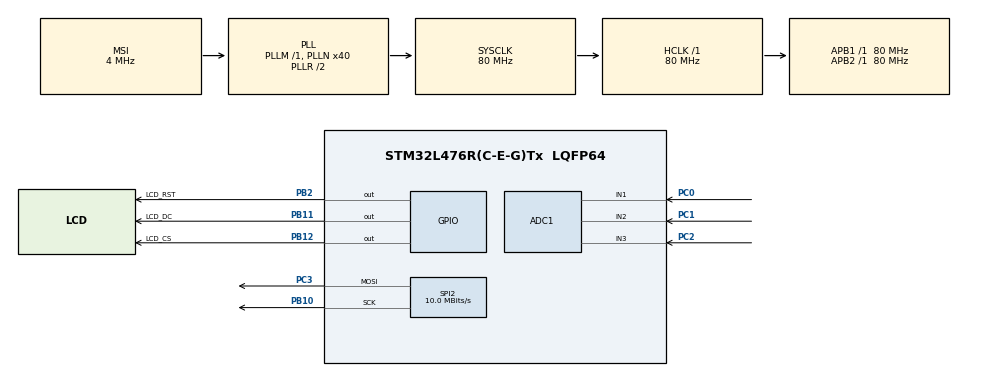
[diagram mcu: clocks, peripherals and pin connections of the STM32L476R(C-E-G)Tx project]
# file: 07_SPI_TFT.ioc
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ADC1.Channel-0\#ChannelRegularConversion=ADC_CHANNEL_1
ADC1.Channel-1\#ChannelRegularConversion=ADC_CHANNEL_1
ADC1.Channel-2\#ChannelRegularConversion=ADC_CHANNEL_1
ADC1.NbrOfConversion=3
ADC1.NbrOfConversionFlag=1
ADC1.OffsetNumber-0\#ChannelRegularConversion=ADC_OFFSET_NONE
ADC1.OffsetNumber-1\#ChannelRegularConversion=ADC_OFFSET_NONE
ADC1.OffsetNumber-2\#ChannelRegularConversion=ADC_OFFSET_NONE
ADC1.Rank-0\#ChannelRegularConversion=1
ADC1.Rank-1\#ChannelRegularConversion=2
ADC1.Rank-2\#ChannelRegularConversion=3
ADC1.SamplingTime-0\#ChannelRegularConversion=ADC_SAMPLETIME_640CYCLES_5
ADC1.SamplingTime-1\#ChannelRegularConversion=ADC_SAMPLETIME_640CYCLES_5
ADC1.SamplingTime-2\#ChannelRegularConversion=ADC_SAMPLETIME_640CYCLES_5
ADC1.master=1
Dma.Request0=SPI2_TX
Dma.SPI2_TX.0.Direction=DMA_MEMORY_TO_PERIPH
Dma.SPI2_TX.0.Instance=DMA1_Channel5
Dma.SPI2_TX.0.MemDataAlignment=DMA_MDATAALIGN_BYTE
Dma.SPI2_TX.0.MemInc=DMA_MINC_ENABLE
Dma.SPI2_TX.0.Mode=DMA_NORMAL
Dma.SPI2_TX.0.PeriphDataAlignment=DMA_PDATAALIGN_BYTE
Dma.SPI2_TX.0.PeriphInc=DMA_PINC_DISABLE
Dma.SPI2_TX.0.Priority=DMA_PRIORITY_LOW
Mcu.Family=STM32L4
Mcu.Name=STM32L476R(C-E-G)Tx
Mcu.Package=LQFP64
NVIC.DMA1_Channel5_IRQn=true\:0\:0\:false\:false\:true\:false\:true\:true
NVIC.PriorityGroup=NVIC_PRIORITYGROUP_4
PA13\ (JTMS-SWDIO).Mode=Serial_Wire
PA13\ (JTMS-SWDIO).Signal=SYS_JTMS-SWDIO
PA14\ (JTCK-SWCLK).Mode=Serial_Wire
PA14\ (JTCK-SWCLK).Signal=SYS_JTCK-SWCLK
PB10.Mode=TX_Only_Simplex_Unidirect_Master
PB10.Signal=SPI2_SCK
PB11.GPIO_Label=LCD_DC
PB11.Signal=GPIO_Output
PB12.GPIO_Label=LCD_CS
PB12.PinState=GPIO_PIN_SET
PB12.Signal=GPIO_Output
PB2.GPIO_Label=LCD_RST
PB2.Signal=GPIO_Output
PC0.Signal=ADCx_IN1
PC1.Signal=ADCx_IN2
PC2.Signal=ADCx_IN3
PC3.Mode=TX_Only_Simplex_Unidirect_Master
PC3.Signal=SPI2_MOSI
ProjectManager.HeapSize=0x200
ProjectManager.StackSize=0x400
ProjectManager.TargetToolchain=STM32CubeIDE
RCC.ADCFreq_Value=32000000
RCC.AHBFreq_Value=80000000
RCC.APB1Freq_Value=80000000
RCC.APB1TimFreq_Value=80000000
RCC.APB2Freq_Value=80000000
RCC.APB2TimFreq_Value=80000000
RCC.CortexFreq_Value=80000000
RCC.HCLKFreq_Value=80000000
RCC.HSE_VALUE=8000000
RCC.HSI_VALUE=16000000
RCC.LSE_VALUE=32768
RCC.MSI_VALUE=4000000
RCC.PLLN=40
RCC.PLLSAI1N=16
RCC.SYSCLKFreq_VALUE=80000000
RCC.SYSCLKSource=RCC_SYSCLKSOURCE_PLLCLK
RCC.USBFreq_Value=32000000
RCC.VCOOutputFreq_Value=160000000
SH.ADCx_IN1.0=ADC1_IN1,IN1-Single-Ended
SH.ADCx_IN2.0=ADC1_IN2,IN2-Single-Ended
SH.ADCx_IN3.0=ADC1_IN3,IN3-Single-Ended
SPI2.BaudRatePrescaler=SPI_BAUDRATEPRESCALER_8
SPI2.CalculateBaudRate=10.0 MBits/s
SPI2.DataSize=SPI_DATASIZE_8BIT
SPI2.Direction=SPI_DIRECTION_2LINES
SPI2.Mode=SPI_MODE_MASTER
SPI2.NSSPMode=SPI_NSS_PULSE_DISABLE
SPI2.VirtualType=VM_MASTER
board=custom

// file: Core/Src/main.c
/* USER CODE BEGIN Header */
/**
  ******************************************************************************
  * @file           : main.c
  * @brief          : Main program body
  ******************************************************************************
  * @attention
  *
  * Copyright (c) 2026 STMicroelectronics.
  * All rights reserved.
  *
  * This software is licensed under terms that can be found in the LICENSE file
  * in the root directory of this software component.
  * If no LICENSE file comes with this software, it is provided AS-IS.
  *
  ******************************************************************************
  */
/* USER CODE END Header */
#include "main.h"
#include "dma.h"
#include "spi.h"
#include "gpio.h"
#include "adc.h"

/* USER CODE BEGIN Includes */
#include "lcd.h"
#include <hagl_hal.h>
#include "hagl.h"
#include "font6x9.h"
#include "rgb565.h"
#include "metaballs.h"
#include "rotozoom.h"

/* USER CODE END Includes */

/* USER CODE BEGIN PV */
uint16_t adc_data[3] = {0};

hagl_backend_t *display = NULL;

uint16_t adc_x, adc_y, light_raw;
//extern const uint16_t photo[];

/* USER CODE END PV */

void SystemClock_Config(void);
/* USER CODE BEGIN PFP */
void draw_bus_homework(void);
void draw_light_progress_bar(uint16_t adc_value);
void draw_ball(uint16_t adc_x, uint16_t adc_y);
/* USER CODE END PFP */

/* USER CODE BEGIN 0 */
void HAL_SPI_TxCpltCallback(SPI_HandleTypeDef *hspi)
{
	if (hspi == &hspi2)
	{
		lcd_transfer_done();
	}
}

/* USER CODE END 0 */

int main(void)
{

  /* MCU Configuration--------------------------------------------------------*/

  /* Reset of all peripherals, Initializes the Flash interface and the Systick. */
  HAL_Init();

  /* Configure the system clock */
  SystemClock_Config();

  /* Initialize all configured peripherals */
  MX_GPIO_Init();
  MX_DMA_Init();
  MX_SPI2_Init();
  MX_ADC1_Init();
  /* USER CODE BEGIN 2 */
  HAL_ADCEx_Calibration_Start(&hadc1, ADC_SINGLE_ENDED);

  lcd_init();
  display = hagl_init();

  if (display == NULL) {
     Error_Handler();
  }
//  hagl_clear(display);
//
//  for(int i = 0; i < 8; i++){
//	  hagl_draw_rounded_rectangle(display, 2+i, 2+i, 158-i, 126-i, 8-i, rgb565(255 - (i*20), 0, i*30));
//  }
//
//  hagl_put_text(display, L"Hello World!", 40, 55, YELLOW, font6x9);
//
//  lcd_copy();
  //lcd_fill_box(0, 0, 160, 128, BLACK);

  //rotozoom_init(display);
  /* USER CODE END 2 */

  /* Infinite loop */
  /* USER CODE BEGIN WHILE */

  while (1)
  {
//	  lcd_fill_box(0, 0, 160, 16, RED);
//	  lcd_fill_box(0, 16, 160, 16, GREEN);
//	  lcd_fill_box(0, 32, 160, 16, BLUE);
//	  lcd_fill_box(0, 48, 160, 16, YELLOW);
//	  lcd_fill_box(0, 64, 160, 16, MAGENTA);
//	  lcd_fill_box(0, 80, 160, 16, CYAN);
//	  lcd_fill_box(0, 96, 160, 16, WHITE);
	  //lcd_draw_rgba_image(14, 30, 100, 100, photo);
	  //rotozoom_animate(display);

	  HAL_ADC_Start(&hadc1);
	  HAL_ADC_PollForConversion(&hadc1, 10);
	  adc_x = HAL_ADC_GetValue(&hadc1);

	  HAL_ADC_PollForConversion(&hadc1, 10);
	  adc_y = HAL_ADC_GetValue(&hadc1);

	  HAL_ADC_PollForConversion(&hadc1, 10);
	  light_raw = HAL_ADC_GetValue(&hadc1);
	  while(lcd_is_busy()) {}

	  //hagl_clear(display);

	  hagl_fill_rectangle(display, 0, 0, 159, 127, rgb565(40, 40, 40));

	  draw_bus_homework();

	  draw_ball(adc_x, adc_y);

	  draw_light_progress_bar(light_raw);

	  //rotozoom_render(display);
	  lcd_copy();

	  HAL_Delay(16);

    /* USER CODE END WHILE */

  }
}

void SystemClock_Config(void)
{
  RCC_OscInitTypeDef RCC_OscInitStruct = {0};
  RCC_ClkInitTypeDef RCC_ClkInitStruct = {0};

  /** Configure the main internal regulator output voltage
  */
  if (HAL_PWREx_ControlVoltageScaling(PWR_REGULATOR_VOLTAGE_SCALE1) != HAL_OK)
  {
    Error_Handler();
  }

  /** Initializes the RCC Oscillators according to the specified parameters
  * in the RCC_OscInitTypeDef structure.
  */
  RCC_OscInitStruct.OscillatorType = RCC_OSCILLATORTYPE_MSI;
  RCC_OscInitStruct.MSIState = RCC_MSI_ON;
  RCC_OscInitStruct.MSICalibrationValue = 0;
  RCC_OscInitStruct.MSIClockRange = RCC_MSIRANGE_6;
  RCC_OscInitStruct.PLL.PLLState = RCC_PLL_ON;
  RCC_OscInitStruct.PLL.PLLSource = RCC_PLLSOURCE_MSI;
  RCC_OscInitStruct.PLL.PLLM = 1;
  RCC_OscInitStruct.PLL.PLLN = 40;
  RCC_OscInitStruct.PLL.PLLP = RCC_PLLP_DIV7;
  RCC_OscInitStruct.PLL.PLLQ = RCC_PLLQ_DIV2;
  RCC_OscInitStruct.PLL.PLLR = RCC_PLLR_DIV2;
  if (HAL_RCC_OscConfig(&RCC_OscInitStruct) != HAL_OK)
  {
    Error_Handler();
  }

  /** Initializes the CPU, AHB and APB buses clocks
  */
  RCC_ClkInitStruct.ClockType = RCC_CLOCKTYPE_HCLK|RCC_CLOCKTYPE_SYSCLK
                              |RCC_CLOCKTYPE_PCLK1|RCC_CLOCKTYPE_PCLK2;
  RCC_ClkInitStruct.SYSCLKSource = RCC_SYSCLKSOURCE_PLLCLK;
  RCC_ClkInitStruct.AHBCLKDivider = RCC_SYSCLK_DIV1;
  RCC_ClkInitStruct.APB1CLKDivider = RCC_HCLK_DIV1;
  RCC_ClkInitStruct.APB2CLKDivider = RCC_HCLK_DIV1;

  if (HAL_RCC_ClockConfig(&RCC_ClkInitStruct, FLASH_LATENCY_4) != HAL_OK)
  {
    Error_Handler();
  }
}

/* USER CODE BEGIN 4 */

void draw_bus_homework(void){
	uint16_t yellow = rgb565(255, 255, 0);
	uint16_t blue = rgb565(0, 0, 255);
	uint16_t brown = rgb565(139, 69, 19);
	uint16_t black = rgb565(0, 0, 0);
	uint16_t white = rgb565(255, 255, 255);

	// Main Bus Body
	hagl_fill_rectangle(display, 45, 46, 115, 81, yellow);
	hagl_draw_rectangle(display, 45, 46, 115, 81, black);

	// Windows
	hagl_fill_rectangle(display, 50, 51, 68, 64, blue);
	hagl_fill_rectangle(display, 70, 51, 88, 64, blue);
	hagl_fill_rectangle(display, 90, 51, 108, 64, blue);

	hagl_draw_rectangle(display, 50, 51, 68, 64, black);
	hagl_draw_rectangle(display, 70, 51, 88, 64, black);
	hagl_draw_rectangle(display, 90, 51, 108, 64, black);

	//Left Wheel
	hagl_fill_circle(display, 63, 81, 7, brown);
	hagl_draw_circle(display, 63, 81, 7, black);

	// Right wheel
	hagl_fill_circle(display, 97, 81, 7, brown);
	hagl_draw_circle(display, 97, 81, 7, black);

	// Front Headlight
	hagl_fill_rectangle(display, 112, 71, 115, 75, white);
	hagl_draw_rectangle(display, 112, 71, 115, 75, black);
}

void draw_light_progress_bar(uint16_t adc_value){
	uint16_t border_color = rgb565(255, 255, 255);
	uint16_t bar_color = rgb565(0, 255, 0);
	uint16_t text_color = rgb565(255, 255, 255);
	uint16_t bg_color = rgb565(40, 40, 40);

	hagl_put_text(display, L"LIGHT:", 10, 5, text_color,  font6x9);

	int16_t x = 10;
	int16_t y = 18;
	int16_t max_width = 140;
	int16_t height = 12;

	hagl_draw_rectangle(display, x, y, x + max_width, y + height, border_color);
	hagl_fill_rectangle(display, x + 1, y + 1, x + max_width - 1, y + height - 1, bg_color);
	int16_t fill_width = (adc_value * (max_width - 2)) / 4095;

	if(fill_width > max_width - 2) {
		fill_width = max_width - 2;
	}

	if(fill_width > 0){
		hagl_fill_rectangle(display, x + 1, y + 1, x + 1 + fill_width, y + height - 1, bar_color);
	}
}

void draw_ball(uint16_t adc_x, uint16_t adc_y)
{
    static float smooth_x = 80;
    static float smooth_y = 64;

    uint16_t target_x = (adc_x * 159) / 4095;
    uint16_t target_y = (adc_y * 127) / 4095;

    smooth_x = smooth_x * 0.9f + target_x * 0.1f;
    smooth_y = smooth_y * 0.9f + target_y * 0.1f;

    uint16_t ball_x = (uint16_t)smooth_x;
    uint16_t ball_y = (uint16_t)smooth_y;

    if(ball_x < 8) ball_x = 8;
    if(ball_x > 151) ball_x = 151;

    if(ball_y < 8) ball_y = 8;
    if(ball_y > 119) ball_y = 119;

    hagl_fill_circle(display, ball_x, ball_y, 8, rgb565(255, 0, 0));
    hagl_draw_circle(display, ball_x, ball_y, 8, rgb565(255, 255, 255));
}
/* USER CODE END 4 */

void Error_Handler(void)
{
  __disable_irq();
  while (1)
  {
  }
}
